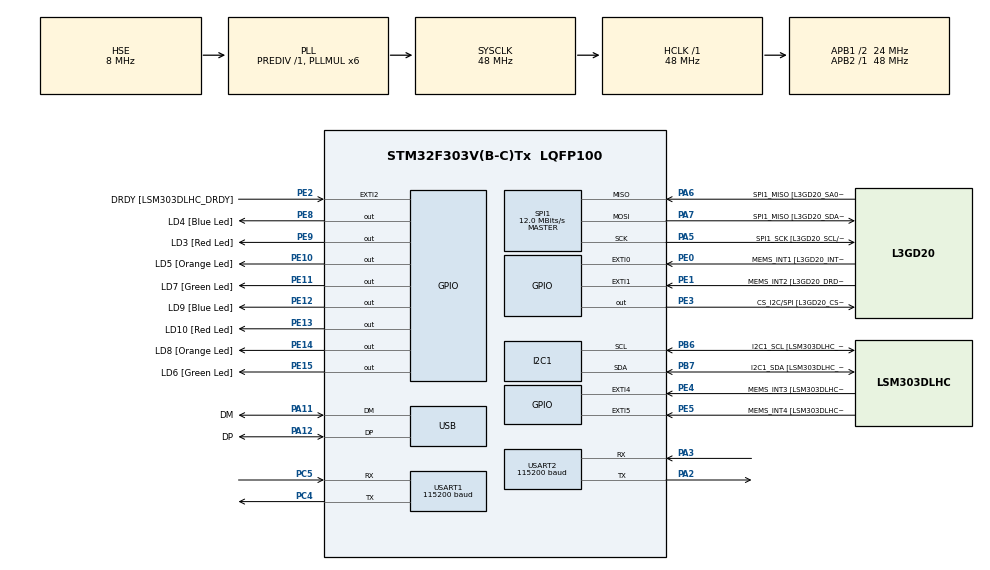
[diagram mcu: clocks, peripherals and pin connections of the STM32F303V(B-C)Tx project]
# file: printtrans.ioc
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I2C1.Timing-I2C=0x2000090E
Mcu.Family=STM32F3
Mcu.Name=STM32F303V(B-C)Tx
Mcu.Package=LQFP100
NVIC.PriorityGroup=NVIC_PRIORITYGROUP_0
PA1.Signal=USART2_RTS
PA11.GPIO_Label=DM
PA11.Mode=Device
PA11.Signal=USB_DM
PA12.GPIO_Label=DP
PA12.Mode=Device
PA12.Signal=USB_DP
PA13.GPIO_Label=SWDIO
PA13.Mode=Serial_Wire
PA13.Signal=SYS_JTMS-SWDIO
PA14.GPIO_Label=SWCLK
PA14.Mode=Serial_Wire
PA14.Signal=SYS_JTCK-SWCLK
PA2.Mode=Asynchronous
PA2.Signal=USART2_TX
PA3.Mode=Asynchronous
PA3.Signal=USART2_RX
PA5.GPIO_Label=SPI1_SCK [L3GD20_SCL/SPC]
PA5.Mode=Full_Duplex_Master
PA5.Signal=SPI1_SCK
PA6.GPIO_Label=SPI1_MISO [L3GD20_SA0/SDO]
PA6.Mode=Full_Duplex_Master
PA6.Signal=SPI1_MISO
PA7.GPIO_Label=SPI1_MISO [L3GD20_SDA/SDI/SDO]
PA7.Mode=Full_Duplex_Master
PA7.Signal=SPI1_MOSI
PB3.GPIO_Label=SWO
PB3.Signal=SYS_JTDO-TRACESWO
PB6.GPIO_Label=I2C1_SCL [LSM303DLHC_SCL]
PB6.Mode=I2C
PB6.Signal=I2C1_SCL
PB7.GPIO_Label=I2C1_SDA [LSM303DLHC_SDA]
PB7.Mode=I2C
PB7.Signal=I2C1_SDA
PC14-OSC32_IN.GPIO_Label=OSC32_IN
PC14-OSC32_IN.Signal=RCC_OSC32_IN
PC15-OSC32_OUT.GPIO_Label=OSC32_OUT
PC15-OSC32_OUT.Signal=RCC_OSC32_OUT
PC4.Mode=Asynchronous
PC4.Signal=USART1_TX
PC5.Mode=Asynchronous
PC5.Signal=USART1_RX
PE0.GPIO_Label=MEMS_INT1 [L3GD20_INT1]
PE0.GPIO_ModeDefaultEXTI=GPIO_MODE_EVT_RISING
PE0.Signal=GPXTI0
PE1.GPIO_Label=MEMS_INT2 [L3GD20_DRDY/INT2]
PE1.GPIO_ModeDefaultEXTI=GPIO_MODE_EVT_RISING
PE1.Signal=GPXTI1
PE10.GPIO_Label=LD5 [Orange Led]
PE10.Signal=GPIO_Output
PE11.GPIO_Label=LD7 [Green Led]
PE11.Signal=GPIO_Output
PE12.GPIO_Label=LD9 [Blue Led]
PE12.Signal=GPIO_Output
PE13.GPIO_Label=LD10 [Red Led]
PE13.Signal=GPIO_Output
PE14.GPIO_Label=LD8 [Orange Led]
PE14.Signal=GPIO_Output
PE15.GPIO_Label=LD6 [Green Led]
PE15.Signal=GPIO_Output
PE2.GPIO_Label=DRDY [LSM303DLHC_DRDY]
PE2.GPIO_ModeDefaultEXTI=GPIO_MODE_EVT_RISING
PE2.Signal=GPXTI2
PE3.GPIO_Label=CS_I2C/SPI [L3GD20_CS_I2C/SPI]
PE3.Signal=GPIO_Output
PE4.GPIO_Label=MEMS_INT3 [LSM303DLHC_INT1]
PE4.GPIO_ModeDefaultEXTI=GPIO_MODE_EVT_RISING
PE4.Signal=GPXTI4
PE5.GPIO_Label=MEMS_INT4 [LSM303DLHC_INT2]
PE5.GPIO_ModeDefaultEXTI=GPIO_MODE_EVT_RISING
PE5.Signal=GPXTI5
PE8.GPIO_Label=LD4 [Blue Led]
PE8.Signal=GPIO_Output
PE9.GPIO_Label=LD3 [Red Led]
PE9.Signal=GPIO_Output
PF0-OSC_IN.GPIO_Label=OSC_IN
PF0-OSC_IN.Mode=HSE-External-Clock-Source
PF0-OSC_IN.Signal=RCC_OSC_IN
PF1-OSC_OUT.GPIO_Label=OSC_OUT
PF1-OSC_OUT.Signal=RCC_OSC_OUT
ProjectManager.HeapSize=0x200
ProjectManager.StackSize=0x400
ProjectManager.TargetToolchain=STM32CubeIDE
RCC.AHBFreq_Value=48000000
RCC.APB1CLKDivider=RCC_HCLK_DIV2
RCC.APB1Freq_Value=24000000
RCC.APB1TimFreq_Value=48000000
RCC.APB2Freq_Value=48000000
RCC.APB2TimFreq_Value=48000000
RCC.CortexFreq_Value=48000000
RCC.HCLKFreq_Value=48000000
RCC.HSE_VALUE=8000000
RCC.HSI_VALUE=8000000
RCC.LSE_VALUE=32768
RCC.PLLMUL=RCC_PLL_MUL6
RCC.SYSCLKFreq_VALUE=48000000
RCC.SYSCLKSourceVirtual=RCC_SYSCLKSOURCE_PLLCLK
RCC.USBFreq_Value=48000000
SPI1.BaudRatePrescaler=SPI_BAUDRATEPRESCALER_4
SPI1.BaudRatePrescaler-Full_Duplex_Master=SPI_BAUDRATEPRESCALER_2
SPI1.CalculateBaudRate=12.0 MBits/s
SPI1.CalculateBaudRate-Full_Duplex_Master=24.0 MBits/s
SPI1.Direction=SPI_DIRECTION_2LINES
SPI1.Mode=SPI_MODE_MASTER
SPI1.Mode-Full_Duplex_Master=SPI_MODE_MASTER
SPI1.VirtualType=VM_MASTER
USART1.BaudRate=115200
USART1.VirtualMode-Asynchronous=VM_ASYNC
USART2.BaudRate=115200
USART2.VirtualMode-Asynchronous=VM_ASYNC
board=STM32F3DISCOVERY

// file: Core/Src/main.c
/* USER CODE BEGIN Header */
/**
  ******************************************************************************
  * @file           : main.c
  * @brief          : Main program body
  ******************************************************************************
  * @attention
  *
  * <h2><center>&copy; Copyright (c) 2020 STMicroelectronics.
  * All rights reserved.</center></h2>
  *
  * This software component is licensed by ST under BSD 3-Clause license,
  * the "License"; You may not use this file except in compliance with the
  * License. You may obtain a copy of the License at:
  *                        opensource.org/licenses/BSD-3-Clause
  *
  ******************************************************************************
  */
/* USER CODE END Header */

#include "main.h"
#include<stdio.h>
#include<stdlib.h>

I2C_HandleTypeDef hi2c1;

SPI_HandleTypeDef hspi1;

UART_HandleTypeDef huart1;
UART_HandleTypeDef huart2;

PCD_HandleTypeDef hpcd_USB_FS;

void SystemClock_Config(void);
static void MX_GPIO_Init(void);
static void MX_I2C1_Init(void);
static void MX_SPI1_Init(void);
static void MX_USB_PCD_Init(void);
static void MX_USART1_UART_Init(void);
static void MX_USART2_UART_Init(void);
/* USER CODE BEGIN PFP */
extern void serial_printf(const char *msg, ...);

/* USER CODE END PFP */

/* USER CODE BEGIN 0 */
struct stud{
    int front,rear;
  char *a[5];
}*aa;
int isFull()
{
    if(((aa->rear+1))%6==aa->front)
    return 1;
    else
    return 0;
}
int isEmpty()
{
    if( aa->front==-1 && aa->rear==-1)
    return 1;
    else
    return 0;
}
void enqu(char* ch)
{
	if(aa->rear==-1)
	    aa->front=aa->rear=0;

    if(isFull())
    {

    serial_printf("F\r\n");
    }
    else
    {

    aa->a[aa->rear]=ch;
    aa->rear=(aa->rear+1)%6;

    }
}

void deq()
{
    if(isEmpty())
    serial_printf("E\r\n");
    else
    {
      aa->front++;

    }

}
int clen(char* a)
{
	int len=0;
	while(*a!='\0')
	{
		a++;
		len++;
	}
	return len;
}

void display()
{
    int r=aa->front;

  while(r!=aa->rear)
  {
 // serial_printf("%s\t",aa->a[r]);
  HAL_UART_Transmit( &huart2,aa->a[r],clen(aa->a[r]),5U);
  HAL_UART_Transmit( &huart2,"\t",1,5U);

  //serial_printf("\t");

  r=(r+1)%6;
  }
  serial_printf("\r\n");
}
/* USER CODE END 0 */
int clength(char* a)
{
	int len=0;
	while(*a!='\0')
	{
		a++;
		len++;
	}
	return len;
}
int main(void)
{

  /* MCU Configuration--------------------------------------------------------*/

  /* Reset of all peripherals, Initializes the Flash interface and the Systick. */
  HAL_Init();

  /* Configure the system clock */
  SystemClock_Config();

  /* Initialize all configured peripherals */
  MX_GPIO_Init();
  MX_I2C1_Init();
  MX_SPI1_Init();
  MX_USB_PCD_Init();
  MX_USART1_UART_Init();
  MX_USART2_UART_Init();
  /* USER CODE BEGIN 2 */
  //_HAL_UART_ENABLE_IT(&huart2,UART_IT_RXNE);

  /* USER CODE END 2 */
serial_printf("HELoo\r\n");
  /* Infinite loop */
  /* USER CODE BEGIN WHILE */
aa=(struct stud*)malloc(sizeof(struct stud));
 for(int i=0;i<5;i++)
 aa->a[i]=(char*)malloc(sizeof(char));
 aa->rear=aa->front=-1;
 enqu("LL");
 display();
 enqu("ff");
  display();
  enqu("rff");
   display();
   enqu("sdc");
    display();
    enqu("sedf");
     display();
     enqu("sdsad");
      display();
 /* USER CODE END WHILE */
      char c[]="jinee\r\n";
      uint8_t* d[3];
HAL_UART_Transmit( &huart2,c,sizeof(c),5U);
//HAL_UART_Receive( &huart2,d,sizeof(d),5U);

}

void SystemClock_Config(void)
{
  RCC_OscInitTypeDef RCC_OscInitStruct = {0};
  RCC_ClkInitTypeDef RCC_ClkInitStruct = {0};
  RCC_PeriphCLKInitTypeDef PeriphClkInit = {0};

  /** Initializes the CPU, AHB and APB busses clocks
  */
  RCC_OscInitStruct.OscillatorType = RCC_OSCILLATORTYPE_HSI|RCC_OSCILLATORTYPE_HSE;
  RCC_OscInitStruct.HSEState = RCC_HSE_BYPASS;
  RCC_OscInitStruct.HSEPredivValue = RCC_HSE_PREDIV_DIV1;
  RCC_OscInitStruct.HSIState = RCC_HSI_ON;
  RCC_OscInitStruct.HSICalibrationValue = RCC_HSICALIBRATION_DEFAULT;
  RCC_OscInitStruct.PLL.PLLState = RCC_PLL_ON;
  RCC_OscInitStruct.PLL.PLLSource = RCC_PLLSOURCE_HSE;
  RCC_OscInitStruct.PLL.PLLMUL = RCC_PLL_MUL6;
  if (HAL_RCC_OscConfig(&RCC_OscInitStruct) != HAL_OK)
  {
    Error_Handler();
  }
  /** Initializes the CPU, AHB and APB busses clocks
  */
  RCC_ClkInitStruct.ClockType = RCC_CLOCKTYPE_HCLK|RCC_CLOCKTYPE_SYSCLK
                              |RCC_CLOCKTYPE_PCLK1|RCC_CLOCKTYPE_PCLK2;
  RCC_ClkInitStruct.SYSCLKSource = RCC_SYSCLKSOURCE_PLLCLK;
  RCC_ClkInitStruct.AHBCLKDivider = RCC_SYSCLK_DIV1;
  RCC_ClkInitStruct.APB1CLKDivider = RCC_HCLK_DIV2;
  RCC_ClkInitStruct.APB2CLKDivider = RCC_HCLK_DIV1;

  if (HAL_RCC_ClockConfig(&RCC_ClkInitStruct, FLASH_LATENCY_1) != HAL_OK)
  {
    Error_Handler();
  }
  PeriphClkInit.PeriphClockSelection = RCC_PERIPHCLK_USB|RCC_PERIPHCLK_USART1
                              |RCC_PERIPHCLK_USART2|RCC_PERIPHCLK_I2C1;
  PeriphClkInit.Usart1ClockSelection = RCC_USART1CLKSOURCE_PCLK2;
  PeriphClkInit.Usart2ClockSelection = RCC_USART2CLKSOURCE_PCLK1;
  PeriphClkInit.I2c1ClockSelection = RCC_I2C1CLKSOURCE_HSI;
  PeriphClkInit.USBClockSelection = RCC_USBCLKSOURCE_PLL;
  if (HAL_RCCEx_PeriphCLKConfig(&PeriphClkInit) != HAL_OK)
  {
    Error_Handler();
  }
}

static void MX_I2C1_Init(void)
{

  hi2c1.Instance = I2C1;
  hi2c1.Init.Timing = 0x2000090E;
  hi2c1.Init.OwnAddress1 = 0;
  hi2c1.Init.AddressingMode = I2C_ADDRESSINGMODE_7BIT;
  hi2c1.Init.DualAddressMode = I2C_DUALADDRESS_DISABLE;
  hi2c1.Init.OwnAddress2 = 0;
  hi2c1.Init.OwnAddress2Masks = I2C_OA2_NOMASK;
  hi2c1.Init.GeneralCallMode = I2C_GENERALCALL_DISABLE;
  hi2c1.Init.NoStretchMode = I2C_NOSTRETCH_DISABLE;
  if (HAL_I2C_Init(&hi2c1) != HAL_OK)
  {
    Error_Handler();
  }
  /** Configure Analogue filter
  */
  if (HAL_I2CEx_ConfigAnalogFilter(&hi2c1, I2C_ANALOGFILTER_ENABLE) != HAL_OK)
  {
    Error_Handler();
  }
  /** Configure Digital filter
  */
  if (HAL_I2CEx_ConfigDigitalFilter(&hi2c1, 0) != HAL_OK)
  {
    Error_Handler();
  }

}

static void MX_SPI1_Init(void)
{

  /* SPI1 parameter configuration*/
  hspi1.Instance = SPI1;
  hspi1.Init.Mode = SPI_MODE_MASTER;
  hspi1.Init.Direction = SPI_DIRECTION_2LINES;
  hspi1.Init.DataSize = SPI_DATASIZE_4BIT;
  hspi1.Init.CLKPolarity = SPI_POLARITY_LOW;
  hspi1.Init.CLKPhase = SPI_PHASE_1EDGE;
  hspi1.Init.NSS = SPI_NSS_SOFT;
  hspi1.Init.BaudRatePrescaler = SPI_BAUDRATEPRESCALER_4;
  hspi1.Init.FirstBit = SPI_FIRSTBIT_MSB;
  hspi1.Init.TIMode = SPI_TIMODE_DISABLE;
  hspi1.Init.CRCCalculation = SPI_CRCCALCULATION_DISABLE;
  hspi1.Init.CRCPolynomial = 7;
  hspi1.Init.CRCLength = SPI_CRC_LENGTH_DATASIZE;
  hspi1.Init.NSSPMode = SPI_NSS_PULSE_ENABLE;
  if (HAL_SPI_Init(&hspi1) != HAL_OK)
  {
    Error_Handler();
  }

}

static void MX_USART1_UART_Init(void)
{

  huart1.Instance = USART1;
  huart1.Init.BaudRate = 115200;
  huart1.Init.WordLength = UART_WORDLENGTH_8B;
  huart1.Init.StopBits = UART_STOPBITS_1;
  huart1.Init.Parity = UART_PARITY_NONE;
  huart1.Init.Mode = UART_MODE_TX_RX;
  huart1.Init.HwFlowCtl = UART_HWCONTROL_NONE;
  huart1.Init.OverSampling = UART_OVERSAMPLING_16;
  huart1.Init.OneBitSampling = UART_ONE_BIT_SAMPLE_DISABLE;
  huart1.AdvancedInit.AdvFeatureInit = UART_ADVFEATURE_NO_INIT;
  if (HAL_UART_Init(&huart1) != HAL_OK)
  {
    Error_Handler();
  }

}

static void MX_USART2_UART_Init(void)
{

  huart2.Instance = USART2;
  huart2.Init.BaudRate = 115200;
  huart2.Init.WordLength = UART_WORDLENGTH_8B;
  huart2.Init.StopBits = UART_STOPBITS_1;
  huart2.Init.Parity = UART_PARITY_NONE;
  huart2.Init.Mode = UART_MODE_TX_RX;
  huart2.Init.HwFlowCtl = UART_HWCONTROL_NONE;
  huart2.Init.OverSampling = UART_OVERSAMPLING_16;
  huart2.Init.OneBitSampling = UART_ONE_BIT_SAMPLE_DISABLE;
  huart2.AdvancedInit.AdvFeatureInit = UART_ADVFEATURE_NO_INIT;
  if (HAL_UART_Init(&huart2) != HAL_OK)
  {
    Error_Handler();
  }

}

static void MX_USB_PCD_Init(void)
{

  hpcd_USB_FS.Instance = USB;
  hpcd_USB_FS.Init.dev_endpoints = 8;
  hpcd_USB_FS.Init.speed = PCD_SPEED_FULL;
  hpcd_USB_FS.Init.phy_itface = PCD_PHY_EMBEDDED;
  hpcd_USB_FS.Init.low_power_enable = DISABLE;
  hpcd_USB_FS.Init.battery_charging_enable = DISABLE;
  if (HAL_PCD_Init(&hpcd_USB_FS) != HAL_OK)
  {
    Error_Handler();
  }

}

static void MX_GPIO_Init(void)
{
  GPIO_InitTypeDef GPIO_InitStruct = {0};

  /* GPIO Ports Clock Enable */
  __HAL_RCC_GPIOE_CLK_ENABLE();
  __HAL_RCC_GPIOC_CLK_ENABLE();
  __HAL_RCC_GPIOF_CLK_ENABLE();
  __HAL_RCC_GPIOA_CLK_ENABLE();
  __HAL_RCC_GPIOB_CLK_ENABLE();

  /*Configure GPIO pin Output Level */
  HAL_GPIO_WritePin(GPIOE, CS_I2C_SPI_Pin|LD4_Pin|LD3_Pin|LD5_Pin
                          |LD7_Pin|LD9_Pin|LD10_Pin|LD8_Pin
                          |LD6_Pin, GPIO_PIN_RESET);

  /*Configure GPIO pins : DRDY_Pin MEMS_INT3_Pin MEMS_INT4_Pin MEMS_INT1_Pin
                           MEMS_INT2_Pin */
  GPIO_InitStruct.Pin = DRDY_Pin|MEMS_INT3_Pin|MEMS_INT4_Pin|MEMS_INT1_Pin
                          |MEMS_INT2_Pin;
  GPIO_InitStruct.Mode = GPIO_MODE_EVT_RISING;
  GPIO_InitStruct.Pull = GPIO_NOPULL;
  HAL_GPIO_Init(GPIOE, &GPIO_InitStruct);

  /*Configure GPIO pins : CS_I2C_SPI_Pin LD4_Pin LD3_Pin LD5_Pin
                           LD7_Pin LD9_Pin LD10_Pin LD8_Pin
                           LD6_Pin */
  GPIO_InitStruct.Pin = CS_I2C_SPI_Pin|LD4_Pin|LD3_Pin|LD5_Pin
                          |LD7_Pin|LD9_Pin|LD10_Pin|LD8_Pin
                          |LD6_Pin;
  GPIO_InitStruct.Mode = GPIO_MODE_OUTPUT_PP;
  GPIO_InitStruct.Pull = GPIO_NOPULL;
  GPIO_InitStruct.Speed = GPIO_SPEED_FREQ_LOW;
  HAL_GPIO_Init(GPIOE, &GPIO_InitStruct);

}

void Error_Handler(void)
{
}

/************************ (C) COPYRIGHT STMicroelectronics *****END OF FILE****/
